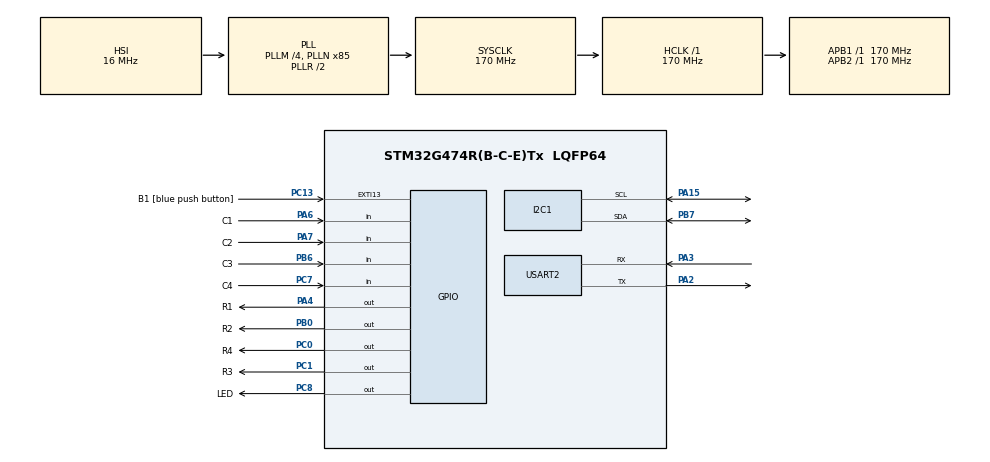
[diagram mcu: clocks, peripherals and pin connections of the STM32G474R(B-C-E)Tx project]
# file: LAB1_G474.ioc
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I2C1.Timing=0x40B285C2
Mcu.Family=STM32G4
Mcu.Name=STM32G474R(B-C-E)Tx
Mcu.Package=LQFP64
NVIC.EXTI15_10_IRQn=true\:0\:0\:false\:false\:true\:true\:true\:true
NVIC.PriorityGroup=NVIC_PRIORITYGROUP_4
PA13.GPIO_Label=T_SWDIO
PA13.Signal=SYS_JTMS-SWDIO
PA14.GPIO_Label=T_SWCLK
PA14.Signal=SYS_JTCK-SWCLK
PA15.GPIO_Pu=GPIO_NOPULL
PA15.Mode=I2C
PA15.Signal=I2C1_SCL
PA2.Mode=Asynchronous
PA2.Signal=USART2_TX
PA3.Mode=Asynchronous
PA3.Signal=USART2_RX
PA4.GPIO_Label=R1
PA4.PinState=GPIO_PIN_SET
PA4.Signal=GPIO_Output
PA6.GPIO_Label=C1
PA6.GPIO_PuPd=GPIO_PULLUP
PA6.Signal=GPIO_Input
PA7.GPIO_Label=C2
PA7.GPIO_PuPd=GPIO_PULLUP
PA7.Signal=GPIO_Input
PB0.GPIO_Label=R2
PB0.PinState=GPIO_PIN_SET
PB0.Signal=GPIO_Output
PB3.GPIO_Label=T_SWO
PB3.Signal=SYS_JTDO-SWO
PB6.GPIO_Label=C3
PB6.GPIO_PuPd=GPIO_PULLUP
PB6.Signal=GPIO_Input
PB7.GPIO_Pu=GPIO_NOPULL
PB7.Mode=I2C
PB7.Signal=I2C1_SDA
PC0.GPIO_Label=R4
PC0.PinState=GPIO_PIN_SET
PC0.Signal=GPIO_Output
PC1.GPIO_Label=R3
PC1.PinState=GPIO_PIN_SET
PC1.Signal=GPIO_Output
PC13.GPIO_Label=B1 [blue push button]
PC13.Signal=GPXTI13
PC14-OSC32_IN.GPIO_Label=RCC_OSC32_IN
PC14-OSC32_IN.Signal=RCC_OSC32_IN
PC15-OSC32_OUT.GPIO_Label=RCC_OSC32_OUT
PC15-OSC32_OUT.Signal=RCC_OSC32_OUT
PC7.GPIO_Label=C4
PC7.GPIO_PuPd=GPIO_PULLUP
PC7.Signal=GPIO_Input
PC8.GPIO_Label=LED
PC8.Signal=GPIO_Output
PF0-OSC_IN.GPIO_Label=RCC_OSC_IN
PF0-OSC_IN.Signal=RCC_OSC_IN
PF1-OSC_OUT.GPIO_Label=RCC_OSC_OUT
PF1-OSC_OUT.Signal=RCC_OSC_OUT
ProjectManager.HeapSize=0x200
ProjectManager.StackSize=0x400
ProjectManager.TargetToolchain=STM32CubeIDE
RCC.ADC12Freq_Value=170000000
RCC.ADC345Freq_Value=170000000
RCC.AHBFreq_Value=170000000
RCC.APB1Freq_Value=170000000
RCC.APB1TimFreq_Value=170000000
RCC.APB2Freq_Value=170000000
RCC.APB2TimFreq_Value=170000000
RCC.CortexFreq_Value=170000000
RCC.EXTERNAL_CLOCK_VALUE=12288000
RCC.HCLKFreq_Value=170000000
RCC.HSE_VALUE=24000000
RCC.HSI48_VALUE=48000000
RCC.HSI_VALUE=16000000
RCC.LSE_VALUE=32768
RCC.PLLM=RCC_PLLM_DIV4
RCC.PLLN=85
RCC.RTCClockSelection=RCC_RTCCLKSOURCE_LSE
RCC.SYSCLKFreq_VALUE=170000000
RCC.SYSCLKSource=RCC_SYSCLKSOURCE_PLLCLK
RCC.USBFreq_Value=170000000
RCC.VCOOutputFreq_Value=340000000
TIM2.PeriodNoDither=99999
TIM2.Prescaler=169
USART2.VirtualMode-Asynchronous=VM_ASYNC
VP_SYS_VS_DBSignals.Mode=DisableDeadBatterySignals
VP_TIM2_VS_ClockSourceINT.Mode=Internal
board=NUCLEO-G474RE

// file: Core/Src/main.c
/* USER CODE BEGIN Header */
/**
  ******************************************************************************
  * @file           : main.c
  * @brief          : Main program body
  ******************************************************************************
  * @attention
  *
  * Copyright (c) 2025 STMicroelectronics.
  * All rights reserved.
  *
  * This software is licensed under terms that can be found in the LICENSE file
  * in the root directory of this software component.
  * If no LICENSE file comes with this software, it is provided AS-IS.
  *
  ******************************************************************************
  */
/* USER CODE END Header */
#include "main.h"

/* USER CODE BEGIN Includes */
#include <stdio.h>
#include "LCD_JLX1602A.h"
/* USER CODE END Includes */

I2C_HandleTypeDef hi2c1;

TIM_HandleTypeDef htim2;

UART_HandleTypeDef huart2;

/* USER CODE BEGIN PV */
volatile char key = 0; // 키패드 입력 값 저장

volatile uint8_t setting_mode = 0;
volatile uint8_t input_index = 0;
volatile uint8_t time_digits[6] = {0}; // HHMMSS 각 자리 저장
volatile uint8_t hours = 0, minutes = 0, seconds = 0;
volatile uint8_t timer_running = 0;
volatile char last_key = 0;

/* USER CODE END PV */

void SystemClock_Config(void);
static void MX_GPIO_Init(void);
static void MX_I2C1_Init(void);
static void MX_USART2_UART_Init(void);
static void MX_TIM2_Init(void);

/* USER CODE BEGIN 0 */

int _write(int file, char *ptr, int len)
{
  HAL_UART_Transmit(&huart2, (uint8_t*)ptr, len, HAL_MAX_DELAY);
  return len;
}

HAL_StatusTypeDef result;
void I2C_Scanner(void)
{
    uint8_t i;
    printf("Scanning I2C...\r\n");
    for (i = 1; i < 128; i++)
    {
        result = HAL_I2C_IsDeviceReady(&hi2c1, (uint16_t)(i << 1), 3, 5);
        if (result == HAL_OK)
        {
            printf("Found device at 0x%X\r\n", i);
        }
    }
    printf("Scan done.\r\n");
}

char read_keypad()
{
	HAL_GPIO_WritePin(R1_GPIO_Port, R1_Pin, RESET);
	HAL_GPIO_WritePin(R2_GPIO_Port, R2_Pin, SET);
	HAL_GPIO_WritePin(R3_GPIO_Port, R3_Pin, SET);
	HAL_GPIO_WritePin(R4_GPIO_Port, R4_Pin, SET);

	if(!(HAL_GPIO_ReadPin(C1_GPIO_Port, C1_Pin)))
	{

		return '1';
	}
	if(!(HAL_GPIO_ReadPin(C2_GPIO_Port, C2_Pin)))
	{

		return '2';
	}
	if(!(HAL_GPIO_ReadPin(C3_GPIO_Port, C3_Pin)))
	{

		return '3';
	}
	if(!(HAL_GPIO_ReadPin(C4_GPIO_Port, C4_Pin)))
	{

		return 'A';
	}

	HAL_GPIO_WritePin(R1_GPIO_Port, R1_Pin, SET);
	HAL_GPIO_WritePin(R2_GPIO_Port, R2_Pin, RESET);
	HAL_GPIO_WritePin(R3_GPIO_Port, R3_Pin, SET);
	HAL_GPIO_WritePin(R4_GPIO_Port, R4_Pin, SET);

	if(!(HAL_GPIO_ReadPin(C1_GPIO_Port, C1_Pin)))
	{

		return '4';
	}
	if(!(HAL_GPIO_ReadPin(C2_GPIO_Port, C2_Pin)))
	{

		return '5';
	}
	if(!(HAL_GPIO_ReadPin(C3_GPIO_Port, C3_Pin)))
	{

		return '6';
	}
	if(!(HAL_GPIO_ReadPin(C4_GPIO_Port, C4_Pin)))
	{

		return 'B';
	}

	HAL_GPIO_WritePin(R1_GPIO_Port, R1_Pin, SET);
	HAL_GPIO_WritePin(R2_GPIO_Port, R2_Pin, SET);
	HAL_GPIO_WritePin(R3_GPIO_Port, R3_Pin, RESET);
	HAL_GPIO_WritePin(R4_GPIO_Port, R4_Pin, SET);

	if(!(HAL_GPIO_ReadPin(C1_GPIO_Port, C1_Pin)))
	{

		return '7';
	}
	if(!(HAL_GPIO_ReadPin(C2_GPIO_Port, C2_Pin)))
	{

		return '8';
	}
	if(!(HAL_GPIO_ReadPin(C3_GPIO_Port, C3_Pin)))
	{

		return '9';
	}
	if(!(HAL_GPIO_ReadPin(C4_GPIO_Port, C4_Pin)))
	{

		return 'C';
	}

	HAL_GPIO_WritePin(R1_GPIO_Port, R1_Pin, SET);
	HAL_GPIO_WritePin(R2_GPIO_Port, R2_Pin, SET);
	HAL_GPIO_WritePin(R3_GPIO_Port, R3_Pin, SET);
	HAL_GPIO_WritePin(R4_GPIO_Port, R4_Pin, RESET);

	if(!(HAL_GPIO_ReadPin(C1_GPIO_Port, C1_Pin)))
	{

		return '*';
	}
	if(!(HAL_GPIO_ReadPin(C2_GPIO_Port, C2_Pin)))
	{

		return '0';
	}
	if(!(HAL_GPIO_ReadPin(C3_GPIO_Port, C3_Pin)))
	{

		return '#';
	}
	if(!(HAL_GPIO_ReadPin(C4_GPIO_Port, C4_Pin)))
	{

		return 'D';
	}

	return 0;
}

// 타이머 변수 및 표시 초기화

/* USER CODE END 0 */

int main(void)
{

  /* MCU Configuration--------------------------------------------------------*/

  /* Reset of all peripherals, Initializes the Flash interface and the Systick. */
  HAL_Init();

  /* Configure the system clock */
  SystemClock_Config();

  /* Initialize all configured peripherals */
  MX_GPIO_Init();
  MX_I2C1_Init();
  MX_USART2_UART_Init();
  MX_TIM2_Init();
  /* USER CODE BEGIN 2 */
  I2C_Scanner();
  LCD_Init();

  LCD_SetCursor(0, 0);
  LCD_Print("Hello JLX!");
  LCD_SetCursor(1, 0);
  LCD_Print("I2C OK!");

  uint32_t last_tick = HAL_GetTick();

  /* USER CODE END 2 */

  /* Infinite loop */
  while (1)
  {

    /* USER CODE BEGIN 3 */
	  char k = read_keypad();

	          // === 키 처리 ===
	          if (k != 0 && last_key == 0)  // 새로운 키 눌림 감지
	          {
	              last_key = k;  // 현재 키 저장

	              if (k == '*') // 세팅 모드 진입
	              {
	                  setting_mode = 1;
	                  timer_running = 0;
	                  input_index = 0;
	                  for (int i = 0; i < 6; i++) time_digits[i] = 0;
	                  hours = minutes = seconds = 0;
	                  HAL_GPIO_WritePin(LED_GPIO_Port, LED_Pin, GPIO_PIN_RESET);
	                  LCD_Clear();
	                  LCD_SetCursor(0, 0);
	                  LCD_Print("Set Time:");
	                  LCD_SetCursor(1, 0);
	                  LCD_Print("00:00:00");
	              }
	              else if (setting_mode && k >= '0' && k <= '9') // 숫자 입력
	              {
	                  if (input_index < 6)
	                  {
	                      time_digits[input_index++] = k - '0';

	                      uint8_t h1 = time_digits[0];
	                      uint8_t h2 = time_digits[1];
	                      uint8_t m1 = time_digits[2];
	                      uint8_t m2 = time_digits[3];
	                      uint8_t s1 = time_digits[4];
	                      uint8_t s2 = time_digits[5];

	                      hours   = h1 * 10 + h2;
	                      minutes = m1 * 10 + m2;
	                      seconds = s1 * 10 + s2;

	                      char buf[16];
	                      snprintf(buf, sizeof(buf), "%02d:%02d:%02d", (int)hours, (int)minutes, (int)seconds);
	                      LCD_SetCursor(1, 0);
	                      LCD_Print(buf);
	                  }
	              }
	              /*
	              else if (k == '#' && setting_mode) // 타이머 시작
	              {
	                  setting_mode = 0;
	                  timer_running = 1;
	                  LCD_Clear();
	                  LCD_Print("Timer Start!");
	                  HAL_Delay(800);
	                  LCD_Clear();
	              }
	              else if (k == 'A') // 일시정지
	              {
	                  if (timer_running)
	                  {
	                      timer_running = 0;
	                      LCD_SetCursor(0, 0);
	                      LCD_Print("Paused      ");
	                  }
	              }
	              */
	              else if (k == '#') // 타이머 시작 또는 재개
	              {
	                  // 1. 설정 모드에서 타이머 시작
	                  if (setting_mode)
	                  {
	                      setting_mode = 0;
	                      timer_running = 1;
	                      LCD_Clear();
	                      LCD_Print("Timer Start!");
	                      HAL_Delay(800);
	                      LCD_Clear();
	                  }
	                  // 2. 일시정지 상태에서 재개 (남은 시간이 있을 때)
	                  else if (!timer_running && (hours > 0 || minutes > 0 || seconds > 0))
	                  {
	                      timer_running = 1;
	                      LCD_Clear();
	                      LCD_SetCursor(0,0);
	                      LCD_Print("Resumed");
	                      HAL_Delay(800);
	                      LCD_Clear();
	                  }
	              }
	              else if (k == 'A') // 일시정지
	              {
	                  // 타이머가 실행 중일 때만 일시정지 가능
	                  if (timer_running)
	                  {
	                      timer_running = 0;
	                      LCD_Clear();
	                      LCD_SetCursor(0, 0);
	                      LCD_Print("Paused"); // 윗 줄에 Paused 표시
	                  }
	              }
	          }
	          else if (k == 0)
	          {
	              last_key = 0;  // 키를 떼면 다음 입력 가능
	          }

	          // === 타이머 카운트다운 ===
	          if (timer_running && HAL_GetTick() - last_tick >= 1000)
	          {
	              last_tick = HAL_GetTick();

	              if (seconds == 0)
	              {
	                  if (minutes == 0)
	                  {
	                      if (hours == 0)
	                      {
                              /*
	                          timer_running = 0;
	                          HAL_GPIO_WritePin(LED_GPIO_Port, LED_Pin, GPIO_PIN_SET);
	                          LCD_Clear();
	                          LCD_Print("ALARM!");
	                          continue;
	                          */
                              // ✅ 타이머 종료 시 LED 1초만 켜기
                              timer_running = 0;
                              HAL_GPIO_WritePin(LED_GPIO_Port, LED_Pin, GPIO_PIN_SET); // LED ON
                              LCD_Clear();
                              LCD_Print("ALARM!");
                              HAL_Delay(1000); // 1초 동안 켜두기
                              HAL_GPIO_WritePin(LED_GPIO_Port, LED_Pin, GPIO_PIN_RESET); // LED OFF
                              continue;
	                      }
	                      else
	                      {
	                          hours--;
	                          minutes = 59;
	                          seconds = 59;
	                      }
	                  }
	                  else
	                  {
	                      minutes--;
	                      seconds = 59;
	                  }
	              }
	              else
	              {
	                  seconds--;
	              }

	              char buf[16];
	              snprintf(buf, sizeof(buf), "%02d:%02d:%02d", (int)hours, (int)minutes, (int)seconds);
	              LCD_SetCursor(1, 0);
	              LCD_Print(buf);
	          }
	      }
  /* USER CODE END 3 */
}

void SystemClock_Config(void)
{
  RCC_OscInitTypeDef RCC_OscInitStruct = {0};
  RCC_ClkInitTypeDef RCC_ClkInitStruct = {0};

  /** Configure the main internal regulator output voltage
  */
  HAL_PWREx_ControlVoltageScaling(PWR_REGULATOR_VOLTAGE_SCALE1_BOOST);

  /** Initializes the RCC Oscillators according to the specified parameters
  * in the RCC_OscInitTypeDef structure.
  */
  RCC_OscInitStruct.OscillatorType = RCC_OSCILLATORTYPE_HSI;
  RCC_OscInitStruct.HSIState = RCC_HSI_ON;
  RCC_OscInitStruct.HSICalibrationValue = RCC_HSICALIBRATION_DEFAULT;
  RCC_OscInitStruct.PLL.PLLState = RCC_PLL_ON;
  RCC_OscInitStruct.PLL.PLLSource = RCC_PLLSOURCE_HSI;
  RCC_OscInitStruct.PLL.PLLM = RCC_PLLM_DIV4;
  RCC_OscInitStruct.PLL.PLLN = 85;
  RCC_OscInitStruct.PLL.PLLP = RCC_PLLP_DIV2;
  RCC_OscInitStruct.PLL.PLLQ = RCC_PLLQ_DIV2;
  RCC_OscInitStruct.PLL.PLLR = RCC_PLLR_DIV2;
  if (HAL_RCC_OscConfig(&RCC_OscInitStruct) != HAL_OK)
  {
    Error_Handler();
  }

  /** Initializes the CPU, AHB and APB buses clocks
  */
  RCC_ClkInitStruct.ClockType = RCC_CLOCKTYPE_HCLK|RCC_CLOCKTYPE_SYSCLK
                              |RCC_CLOCKTYPE_PCLK1|RCC_CLOCKTYPE_PCLK2;
  RCC_ClkInitStruct.SYSCLKSource = RCC_SYSCLKSOURCE_PLLCLK;
  RCC_ClkInitStruct.AHBCLKDivider = RCC_SYSCLK_DIV1;
  RCC_ClkInitStruct.APB1CLKDivider = RCC_HCLK_DIV1;
  RCC_ClkInitStruct.APB2CLKDivider = RCC_HCLK_DIV1;

  if (HAL_RCC_ClockConfig(&RCC_ClkInitStruct, FLASH_LATENCY_4) != HAL_OK)
  {
    Error_Handler();
  }
}

static void MX_I2C1_Init(void)
{

  hi2c1.Instance = I2C1;
  hi2c1.Init.Timing = 0x40B285C2;
  hi2c1.Init.OwnAddress1 = 0;
  hi2c1.Init.AddressingMode = I2C_ADDRESSINGMODE_7BIT;
  hi2c1.Init.DualAddressMode = I2C_DUALADDRESS_DISABLE;
  hi2c1.Init.OwnAddress2 = 0;
  hi2c1.Init.OwnAddress2Masks = I2C_OA2_NOMASK;
  hi2c1.Init.GeneralCallMode = I2C_GENERALCALL_DISABLE;
  hi2c1.Init.NoStretchMode = I2C_NOSTRETCH_DISABLE;
  if (HAL_I2C_Init(&hi2c1) != HAL_OK)
  {
    Error_Handler();
  }

  /** Configure Analogue filter
  */
  if (HAL_I2CEx_ConfigAnalogFilter(&hi2c1, I2C_ANALOGFILTER_ENABLE) != HAL_OK)
  {
    Error_Handler();
  }

  /** Configure Digital filter
  */
  if (HAL_I2CEx_ConfigDigitalFilter(&hi2c1, 0) != HAL_OK)
  {
    Error_Handler();
  }

}

static void MX_TIM2_Init(void)
{

  TIM_ClockConfigTypeDef sClockSourceConfig = {0};
  TIM_MasterConfigTypeDef sMasterConfig = {0};

  htim2.Instance = TIM2;
  htim2.Init.Prescaler = 169;
  htim2.Init.CounterMode = TIM_COUNTERMODE_UP;
  htim2.Init.Period = 99999;
  htim2.Init.ClockDivision = TIM_CLOCKDIVISION_DIV1;
  htim2.Init.AutoReloadPreload = TIM_AUTORELOAD_PRELOAD_DISABLE;
  if (HAL_TIM_Base_Init(&htim2) != HAL_OK)
  {
    Error_Handler();
  }
  sClockSourceConfig.ClockSource = TIM_CLOCKSOURCE_INTERNAL;
  if (HAL_TIM_ConfigClockSource(&htim2, &sClockSourceConfig) != HAL_OK)
  {
    Error_Handler();
  }
  sMasterConfig.MasterOutputTrigger = TIM_TRGO_RESET;
  sMasterConfig.MasterSlaveMode = TIM_MASTERSLAVEMODE_DISABLE;
  if (HAL_TIMEx_MasterConfigSynchronization(&htim2, &sMasterConfig) != HAL_OK)
  {
    Error_Handler();
  }

}

static void MX_USART2_UART_Init(void)
{

  huart2.Instance = USART2;
  huart2.Init.BaudRate = 115200;
  huart2.Init.WordLength = UART_WORDLENGTH_8B;
  huart2.Init.StopBits = UART_STOPBITS_1;
  huart2.Init.Parity = UART_PARITY_NONE;
  huart2.Init.Mode = UART_MODE_TX_RX;
  huart2.Init.HwFlowCtl = UART_HWCONTROL_NONE;
  huart2.Init.OverSampling = UART_OVERSAMPLING_16;
  huart2.Init.OneBitSampling = UART_ONE_BIT_SAMPLE_DISABLE;
  huart2.Init.ClockPrescaler = UART_PRESCALER_DIV1;
  huart2.AdvancedInit.AdvFeatureInit = UART_ADVFEATURE_NO_INIT;
  if (HAL_UART_Init(&huart2) != HAL_OK)
  {
    Error_Handler();
  }
  if (HAL_UARTEx_SetTxFifoThreshold(&huart2, UART_TXFIFO_THRESHOLD_1_8) != HAL_OK)
  {
    Error_Handler();
  }
  if (HAL_UARTEx_SetRxFifoThreshold(&huart2, UART_RXFIFO_THRESHOLD_1_8) != HAL_OK)
  {
    Error_Handler();
  }
  if (HAL_UARTEx_DisableFifoMode(&huart2) != HAL_OK)
  {
    Error_Handler();
  }

}

static void MX_GPIO_Init(void)
{
  GPIO_InitTypeDef GPIO_InitStruct = {0};

  /* GPIO Ports Clock Enable */
  __HAL_RCC_GPIOC_CLK_ENABLE();
  __HAL_RCC_GPIOF_CLK_ENABLE();
  __HAL_RCC_GPIOA_CLK_ENABLE();
  __HAL_RCC_GPIOB_CLK_ENABLE();

  /*Configure GPIO pin Output Level */
  HAL_GPIO_WritePin(GPIOC, R4_Pin|R3_Pin, GPIO_PIN_SET);

  /*Configure GPIO pin Output Level */
  HAL_GPIO_WritePin(R1_GPIO_Port, R1_Pin, GPIO_PIN_SET);

  /*Configure GPIO pin Output Level */
  HAL_GPIO_WritePin(R2_GPIO_Port, R2_Pin, GPIO_PIN_SET);

  /*Configure GPIO pin Output Level */
  HAL_GPIO_WritePin(LED_GPIO_Port, LED_Pin, GPIO_PIN_RESET);

  /*Configure GPIO pin : B1_Pin */
  GPIO_InitStruct.Pin = B1_Pin;
  GPIO_InitStruct.Mode = GPIO_MODE_IT_RISING;
  GPIO_InitStruct.Pull = GPIO_NOPULL;
  HAL_GPIO_Init(B1_GPIO_Port, &GPIO_InitStruct);

  /*Configure GPIO pins : R4_Pin R3_Pin LED_Pin */
  GPIO_InitStruct.Pin = R4_Pin|R3_Pin|LED_Pin;
  GPIO_InitStruct.Mode = GPIO_MODE_OUTPUT_PP;
  GPIO_InitStruct.Pull = GPIO_NOPULL;
  GPIO_InitStruct.Speed = GPIO_SPEED_FREQ_LOW;
  HAL_GPIO_Init(GPIOC, &GPIO_InitStruct);

  /*Configure GPIO pin : R1_Pin */
  GPIO_InitStruct.Pin = R1_Pin;
  GPIO_InitStruct.Mode = GPIO_MODE_OUTPUT_PP;
  GPIO_InitStruct.Pull = GPIO_NOPULL;
  GPIO_InitStruct.Speed = GPIO_SPEED_FREQ_LOW;
  HAL_GPIO_Init(R1_GPIO_Port, &GPIO_InitStruct);

  /*Configure GPIO pins : C1_Pin C2_Pin */
  GPIO_InitStruct.Pin = C1_Pin|C2_Pin;
  GPIO_InitStruct.Mode = GPIO_MODE_INPUT;
  GPIO_InitStruct.Pull = GPIO_PULLUP;
  HAL_GPIO_Init(GPIOA, &GPIO_InitStruct);

  /*Configure GPIO pin : R2_Pin */
  GPIO_InitStruct.Pin = R2_Pin;
  GPIO_InitStruct.Mode = GPIO_MODE_OUTPUT_PP;
  GPIO_InitStruct.Pull = GPIO_NOPULL;
  GPIO_InitStruct.Speed = GPIO_SPEED_FREQ_LOW;
  HAL_GPIO_Init(R2_GPIO_Port, &GPIO_InitStruct);

  /*Configure GPIO pin : C4_Pin */
  GPIO_InitStruct.Pin = C4_Pin;
  GPIO_InitStruct.Mode = GPIO_MODE_INPUT;
  GPIO_InitStruct.Pull = GPIO_PULLUP;
  HAL_GPIO_Init(C4_GPIO_Port, &GPIO_InitStruct);

  /*Configure GPIO pin : C3_Pin */
  GPIO_InitStruct.Pin = C3_Pin;
  GPIO_InitStruct.Mode = GPIO_MODE_INPUT;
  GPIO_InitStruct.Pull = GPIO_PULLUP;
  HAL_GPIO_Init(C3_GPIO_Port, &GPIO_InitStruct);

  /* EXTI interrupt init*/
  HAL_NVIC_SetPriority(EXTI15_10_IRQn, 0, 0);
  HAL_NVIC_EnableIRQ(EXTI15_10_IRQn);

}

void Error_Handler(void)
{
  __disable_irq();
  while (1)
  {
  }
}
